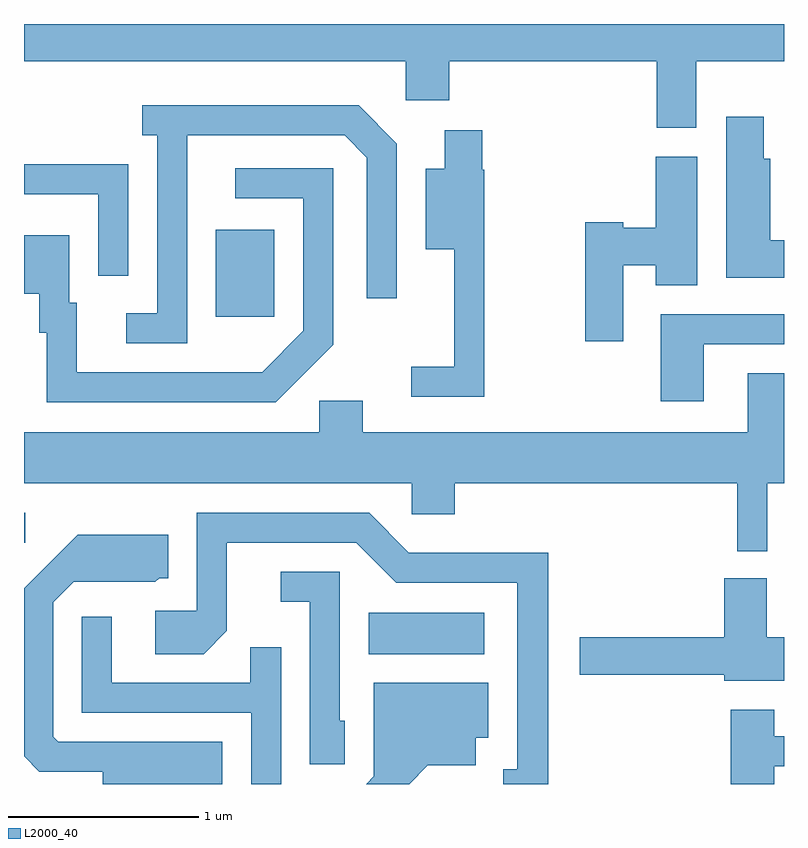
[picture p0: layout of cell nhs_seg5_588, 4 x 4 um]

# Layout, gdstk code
import gdstk
lib = gdstk.Library(unit=1e-6, precision=1e-09)
def R(c, l, rs):  # rectangles x0, y0, x1, y1
    for r in rs: c.add(gdstk.rectangle(r[:2], r[2:], *l))
def P(c, l, *ps):  # polygons
    for p in ps: c.add(gdstk.Polygon(p, *l))
L2000_40 = (2000, 40)

nhs_seg5_588 = lib.new_cell('nhs_seg5_588')
R(nhs_seg5_588, L2000_40, [(203.426,1484.756,204.034,1484.974), (201.611,1485.341,201.618,1485.499), (202.621,1486.531,202.929,1486.989)])
P(nhs_seg5_588, L2000_40, [(205.149,1487.876),(205.611,1487.876),(205.611,1488.072),(201.611,1488.072),(201.611,1487.876),(203.621,1487.876),(203.621,1487.671),(203.849,1487.671),(203.849,1487.876),(204.941,1487.876),(204.941,1487.526),(205.149,1487.526)],
  [(202.469,1487.486),(203.299,1487.486),(203.416,1487.369),(203.416,1486.628),(203.574,1486.628),(203.574,1487.442),(203.372,1487.644),(202.233,1487.644),(202.233,1487.486),(202.311,1487.486),(202.311,1486.549),(202.148,1486.549),(202.148,1486.391),(202.469,1486.391)],
  [(205.611,1486.934),(205.539,1486.934),(205.539,1487.364),(205.504,1487.364),(205.504,1487.584),(205.306,1487.584),(205.306,1486.736),(205.611,1486.736)],
  [(204.034,1487.305),(204.024,1487.305),(204.024,1487.514),(203.826,1487.514),(203.826,1487.309),(203.726,1487.309),(203.726,1486.886),(203.876,1486.886),(203.876,1486.269),(203.648,1486.269),(203.648,1486.111),(204.034,1486.111)],
  [(204.764,1486.801),(204.936,1486.801),(204.936,1486.696),(205.154,1486.696),(205.154,1487.374),(204.936,1487.374),(204.936,1486.999),(204.764,1486.999),(204.764,1487.029),(204.566,1487.029),(204.566,1486.401),(204.764,1486.401)],
  [(202.159,1487.334),(201.611,1487.334),(201.611,1487.176),(202.001,1487.176),(202.001,1486.748),(202.159,1486.748)],
  [(203.239,1486.384),(203.239,1487.314),(202.723,1487.314),(202.723,1487.156),(203.081,1487.156),(203.081,1486.457),(202.864,1486.239),(201.889,1486.239),(201.889,1486.604),(201.849,1486.604),(201.849,1486.959),(201.611,1486.959),(201.611,1486.651),(201.691,1486.651),(201.691,1486.446),(201.731,1486.446),(201.731,1486.081),(202.937,1486.081)],
  [(205.189,1486.386),(205.611,1486.386),(205.611,1486.544),(204.961,1486.544),(204.961,1486.086),(205.189,1486.086)],
  [(205.524,1485.656),(205.611,1485.656),(205.611,1486.234),(205.421,1486.234),(205.421,1485.924),(203.394,1485.924),(203.394,1486.089),(203.166,1486.089),(203.166,1485.924),(201.611,1485.924),(201.611,1485.656),(203.651,1485.656),(203.651,1485.491),(203.879,1485.491),(203.879,1485.656),(205.366,1485.656),(205.366,1485.298),(205.524,1485.298)],
  [(204.369,1485.289),(203.637,1485.289),(203.427,1485.499),(202.521,1485.499),(202.521,1484.984),(202.301,1484.984),(202.301,1484.756),(202.557,1484.756),(202.679,1484.879),(202.679,1485.341),(203.359,1485.341),(203.569,1485.131),(204.206,1485.131),(204.206,1484.149),(204.133,1484.149),(204.133,1484.072),(204.369,1484.072)],
  [(202.654,1484.294),(201.792,1484.294),(201.764,1484.322),(201.764,1485.029),(201.872,1485.136),(202.302,1485.136),(202.322,1485.156),(202.369,1485.156),(202.369,1485.384),(201.894,1485.384),(201.611,1485.102),(201.611,1484.217),(201.692,1484.136),(202.026,1484.136),(202.026,1484.072),(202.654,1484.072)],
  [(203.299,1484.404),(203.274,1484.404),(203.274,1485.189),(202.963,1485.189),(202.963,1485.031),(203.116,1485.031),(203.116,1484.176),(203.299,1484.176)],
  [(205.611,1484.844),(205.519,1484.844),(205.519,1485.154),(205.296,1485.154),(205.296,1484.844),(204.536,1484.844),(204.536,1484.646),(205.296,1484.646),(205.296,1484.616),(205.611,1484.616)],
  [(202.964,1484.793),(202.801,1484.793),(202.801,1484.604),(202.074,1484.604),(202.074,1484.953),(201.916,1484.953),(201.916,1484.446),(202.806,1484.446),(202.806,1484.072),(202.964,1484.072)],
  [(203.737,1484.171),(203.989,1484.171),(203.989,1484.316),(204.054,1484.316),(204.054,1484.604),(203.451,1484.604),(203.451,1484.112),(203.411,1484.072),(203.638,1484.072)],
  [(205.559,1484.166),(205.611,1484.166),(205.611,1484.324),(205.559,1484.324),(205.559,1484.464),(205.331,1484.464),(205.331,1484.072),(205.559,1484.072)])

lib.write_gds('nhs_seg5_588.gds')
